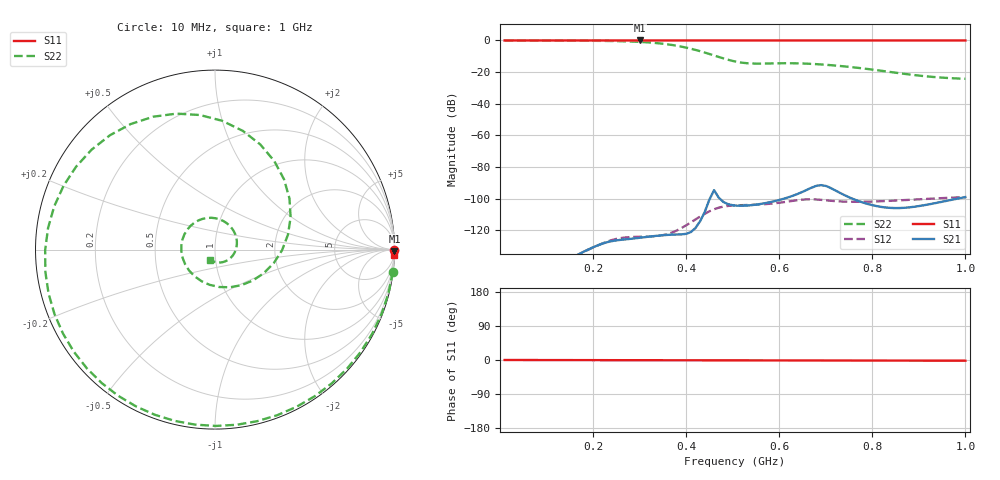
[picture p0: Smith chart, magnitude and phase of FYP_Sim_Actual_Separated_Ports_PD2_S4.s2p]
! Touchstone file from project FYP_Sim_Actual_Separated_Ports
! Exported from HFSS 13.0.2
# GHZ S MA R 50.000000
! Terminal data exported
! Port[1] = PD2_Incision_Port_T1
! Port[2] = Radiating_Plate_T1
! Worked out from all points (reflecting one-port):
!   100 points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, 10 MHz to 1 GHz, reference 50 ohm
!   lowest |S11| = 0.0 dB at 300 MHz (marker M1)
!   phase of S11 starts at -0 deg and turns -2 deg over the sweep
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0.01  1 -0.0  9.852e-10 -19.5  1.17e-10 145.2  0.9984 -7.1
0.05  1 -0.1  3.166e-09 -38.7  2.927e-09 -14.4  0.992 -35.1
0.1  1 -0.2  2.933e-08 139.9  2.921e-08 139.3  0.9856 -69.4
0.14  1 -0.3  9.588e-08 -150.6  9.771e-08 -151.1  0.9814 -96.5
0.18  1 -0.3  2.123e-07 -107.8  2.081e-07 -106.6  0.9769 -123.5
0.21  1 -0.4  3.355e-07 -62.9  3.332e-07 -62.5  0.9707 -144.1
0.24  1 -0.4  4.557e-07 -0.1  4.913e-07 -7.2  0.959 -165.3
0.27  1 -0.5  5.198e-07 61.9  5.959e-07 48.7  0.9378 172.6
0.3  1 -0.5  5.816e-07 106.1  6.272e-07 96.0  0.9014 149.1
0.34  1 -0.6  6.797e-07 145.9  6.698e-07 155.1  0.8166 115.0
0.36  1 -0.7  7.179e-07 163.6  7.635e-07 -172.1  0.7546 96.4
0.38  1 -0.7  7.384e-07 -175.4  9.905e-07 -138.4  0.6793 76.8
0.42  1 -0.8  1.182e-06 -92.1  2.207e-06 -76.4  0.5032 34.5
0.44  1 -0.8  3.789e-06 -43.4  3.336e-06 -45.8  0.4149 11.5
0.47  1 -0.9  1.083e-05 121.2  5.197e-06 2.8  0.3014 -26.1
0.51  1 -0.9  6.015e-06 159.8  6.184e-06 58.4  0.2098 -83.5
0.55  1 -1.0  6.493e-06 176.4  6.466e-06 98.8  0.1855 -141.0
0.58  1 -1.1  7.745e-06 -172.7  6.925e-06 127.2  0.1876 -176.8
0.67  1 -1.2  2.247e-05 -113.0  9.578e-06 -101.6  0.1816 103.7
0.76  1 -1.4  9.624e-06 14.6  7.971e-06 14.1  0.1411 36.6
0.84  1 -1.5  5.108e-06 67.5  8.6e-06 57.8  0.1003 -25.1
1  1 -1.8  1.123e-05 111.1  1.123e-05 111.1  0.06142 -116.0
